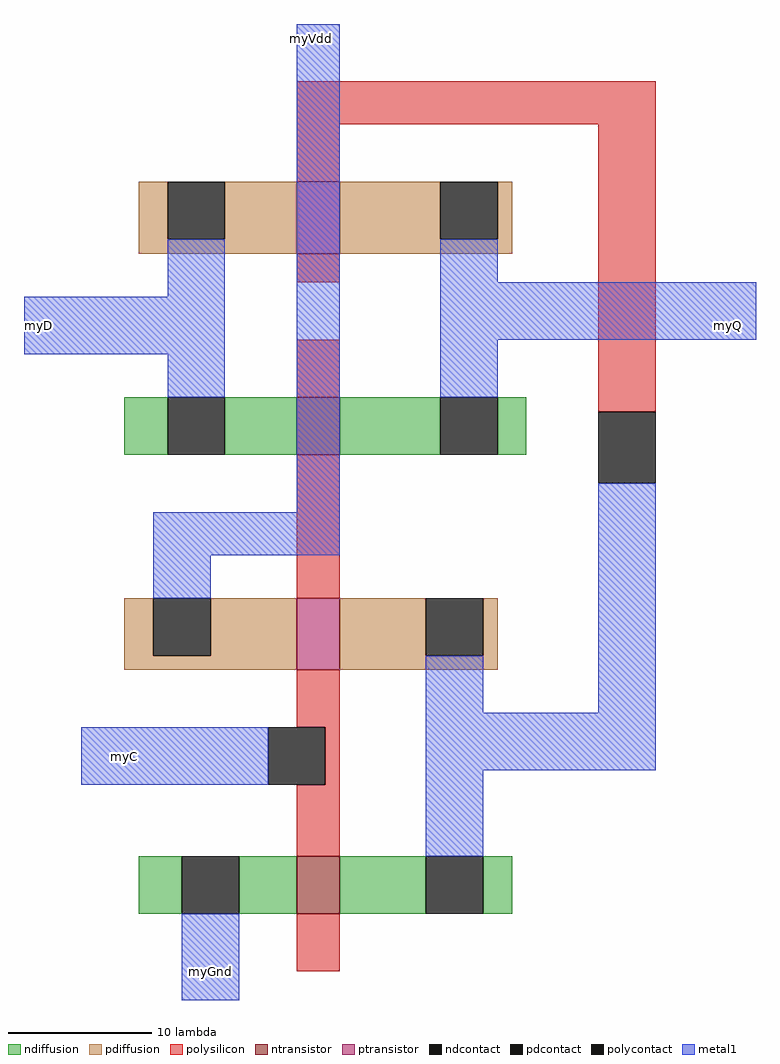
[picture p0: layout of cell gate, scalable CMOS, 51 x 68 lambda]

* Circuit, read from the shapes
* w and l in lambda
.subckt gate myC myD myGnd myQ myVdd
M1 n1 myC myGnd VSUBS nfet w=4 l=3
M2 myQ myC myD VSUBS nfet w=4 l=3
M3 n1 myC myVdd NWELL pfet w=5 l=3
M4 myQ n1 myD NWELL pfet w=5 l=3
.ends

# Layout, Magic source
magic
tech scmos
<< polysilicon >>
rect 3 57 28 60
rect 3 53 6 57
rect 3 46 6 48
rect 3 38 6 42
rect 24 37 28 57
rect 3 24 6 34
rect 3 15 6 19
rect 5 11 6 15
rect 3 6 6 11
rect 3 -2 6 2
<< ndiffusion >>
rect -9 34 -6 38
rect -2 34 3 38
rect 6 34 13 38
rect 17 34 19 38
rect -8 2 -5 6
rect -1 2 3 6
rect 6 2 12 6
rect 16 2 18 6
<< pdiffusion >>
rect -8 49 -6 53
rect -2 49 3 53
rect -8 48 3 49
rect 6 49 13 53
rect 17 49 18 53
rect 6 48 18 49
rect -9 20 -7 24
rect -3 20 3 24
rect -9 19 3 20
rect 6 20 12 24
rect 16 20 17 24
rect 6 19 17 20
<< metal1 >>
rect -6 45 -2 49
rect -16 41 -2 45
rect -6 38 -2 41
rect 3 30 6 64
rect 13 46 17 49
rect 13 42 35 46
rect 13 38 17 42
rect -7 27 6 30
rect -7 24 -3 27
rect 12 16 16 20
rect 24 16 28 32
rect -12 11 1 15
rect 12 12 28 16
rect 12 6 16 12
rect -5 -4 -1 2
<< ntransistor >>
rect 3 34 6 38
rect 3 2 6 6
<< ptransistor >>
rect 3 48 6 53
rect 3 19 6 24
<< polycontact >>
rect 24 32 28 37
rect 1 11 5 15
<< ndcontact >>
rect -6 34 -2 38
rect 13 34 17 38
rect -5 2 -1 6
rect 12 2 16 6
<< pdcontact >>
rect -6 49 -2 53
rect 13 49 17 53
rect -7 20 -3 24
rect 12 20 16 24
<< labels >>
rlabel metal1 -3 -2 -3 -2 1 myGnd
rlabel metal1 -15 43 -15 43 3 myD
rlabel metal1 4 63 4 63 5 myVdd
rlabel metal1 33 43 33 43 7 myQ
rlabel metal1 -9 13 -9 13 1 myC
<< end >>
